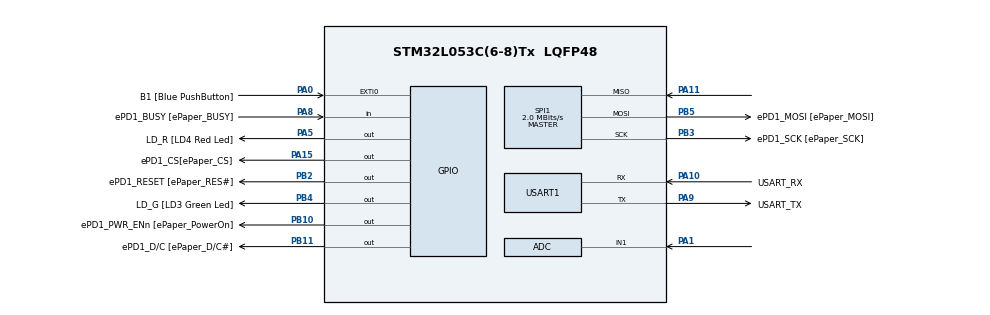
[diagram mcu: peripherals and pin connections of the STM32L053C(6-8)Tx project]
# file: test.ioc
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ADC.ContinuousConvMode=ENABLE
ADC.DMAContinuousRequests=ENABLE
ADC.Overrun=ADC_OVR_DATA_OVERWRITTEN
Dma.ADC.1.Direction=DMA_PERIPH_TO_MEMORY
Dma.ADC.1.Instance=DMA1_Channel1
Dma.ADC.1.MemDataAlignment=DMA_MDATAALIGN_HALFWORD
Dma.ADC.1.MemInc=DMA_MINC_ENABLE
Dma.ADC.1.Mode=DMA_CIRCULAR
Dma.ADC.1.PeriphDataAlignment=DMA_PDATAALIGN_HALFWORD
Dma.ADC.1.PeriphInc=DMA_PINC_DISABLE
Dma.ADC.1.Priority=DMA_PRIORITY_LOW
Dma.Request0=USART1_RX
Dma.Request1=ADC
Dma.USART1_RX.0.Direction=DMA_PERIPH_TO_MEMORY
Dma.USART1_RX.0.Instance=DMA1_Channel3
Dma.USART1_RX.0.MemDataAlignment=DMA_MDATAALIGN_BYTE
Dma.USART1_RX.0.MemInc=DMA_MINC_ENABLE
Dma.USART1_RX.0.Mode=DMA_NORMAL
Dma.USART1_RX.0.PeriphDataAlignment=DMA_PDATAALIGN_BYTE
Dma.USART1_RX.0.PeriphInc=DMA_PINC_DISABLE
Dma.USART1_RX.0.Priority=DMA_PRIORITY_LOW
Mcu.Family=STM32L0
Mcu.Name=STM32L053C(6-8)Tx
Mcu.Package=LQFP48
NVIC.ADC1_COMP_IRQn=true\:0\:0\:false\:false\:true\:true\:true
NVIC.DMA1_Channel1_IRQn=true\:0\:0\:false\:false\:true\:false\:true
NVIC.DMA1_Channel2_3_IRQn=true\:0\:0\:false\:false\:true\:false\:true
NVIC.USART1_IRQn=true\:0\:0\:false\:false\:true\:true\:true
PA0.GPIO_Label=B1 [Blue PushButton]
PA0.GPIO_ModeDefaultEXTI=GPIO_MODE_EVT_RISING
PA0.GPIO_PuPd=GPIO_NOPULL
PA0.Signal=GPXTI0
PA1.Mode=IN1
PA1.Signal=ADC_IN1
PA10.GPIO_Label=USART_RX
PA10.Mode=Asynchronous
PA10.Signal=USART1_RX
PA11.Mode=Full_Duplex_Master
PA11.Signal=SPI1_MISO
PA13.GPIO_Label=SWDIO
PA13.Mode=Serial_Wire
PA13.Signal=SYS_SWDIO
PA14.Mode=Serial_Wire
PA14.Signal=SYS_SWCLK
PA15.GPIO_Label=ePD1_CS[ePaper_CS]
PA15.GPIO_Speed=GPIO_SPEED_FREQ_HIGH
PA15.Signal=GPIO_Output
PA5.GPIO_Label=LD_R [LD4 Red Led]
PA5.GPIO_ModeDefaultOutputPP=GPIO_MODE_OUTPUT_PP
PA5.GPIO_PuPd=GPIO_NOPULL
PA5.GPIO_Speed=GPIO_SPEED_FREQ_LOW
PA5.Signal=GPIO_Output
PA8.GPIO_Label=ePD1_BUSY [ePaper_BUSY]
PA8.GPIO_Mode=GPIO_MODE_INPUT
PA8.GPIO_PuPd=GPIO_PULLDOWN
PA8.Signal=GPIO_Input
PA9.GPIO_Label=USART_TX
PA9.Mode=Asynchronous
PA9.Signal=USART1_TX
PB10.GPIO_Label=ePD1_PWR_ENn [ePaper_PowerOn]
PB10.GPIO_ModeDefaultOutputPP=GPIO_MODE_OUTPUT_PP
PB10.GPIO_PuPd=GPIO_NOPULL
PB10.GPIO_Speed=GPIO_SPEED_FREQ_LOW
PB10.Signal=GPIO_Output
PB11.GPIO_Label=ePD1_D/C [ePaper_D/C\#]
PB11.GPIO_ModeDefaultOutputPP=GPIO_MODE_OUTPUT_PP
PB11.GPIO_PuPd=GPIO_NOPULL
PB11.GPIO_Speed=GPIO_SPEED_FREQ_LOW
PB11.Signal=GPIO_Output
PB2.GPIO_Label=ePD1_RESET [ePaper_RES\#]
PB2.GPIO_ModeDefaultOutputPP=GPIO_MODE_OUTPUT_PP
PB2.GPIO_PuPd=GPIO_NOPULL
PB2.GPIO_Speed=GPIO_SPEED_FREQ_LOW
PB2.Signal=GPIO_Output
PB3.GPIO_Label=ePD1_SCK [ePaper_SCK]
PB3.GPIO_Mode=GPIO_MODE_AF_PP
PB3.GPIO_PuPd=GPIO_NOPULL
PB3.GPIO_Speed=GPIO_SPEED_FREQ_LOW
PB3.Mode=Full_Duplex_Master
PB3.Signal=SPI1_SCK
PB4.GPIO_Label=LD_G [LD3 Green Led]
PB4.GPIO_ModeDefaultOutputPP=GPIO_MODE_OUTPUT_PP
PB4.GPIO_PuPd=GPIO_NOPULL
PB4.GPIO_Speed=GPIO_SPEED_FREQ_LOW
PB4.Signal=GPIO_Output
PB5.GPIO_Label=ePD1_MOSI [ePaper_MOSI]
PB5.GPIO_Mode=GPIO_MODE_AF_PP
PB5.GPIO_PuPd=GPIO_NOPULL
PB5.GPIO_Speed=GPIO_SPEED_FREQ_LOW
PB5.Mode=Full_Duplex_Master
PB5.Signal=SPI1_MOSI
PH0-OSC_IN.GPIO_Label=MCO
PH0-OSC_IN.Mode=HSE-External-Clock-Source
PH0-OSC_IN.Signal=RCC_OSC_IN
ProjectManager.HeapSize=0x200
ProjectManager.StackSize=0x400
ProjectManager.TargetToolchain=MDK-ARM V5.27
RCC.AHBFreq_Value=16000000
RCC.APB1Freq_Value=16000000
RCC.APB1TimFreq_Value=16000000
RCC.APB2Freq_Value=16000000
RCC.APB2TimFreq_Value=16000000
RCC.HCLKFreq_Value=16000000
RCC.HSE_VALUE=8000000
RCC.HSI16_VALUE=16000000
RCC.HSI48MClockSelection=RCC_USBCLKSOURCE_HSI48
RCC.HSI48_VALUE=48000000
RCC.HSI_VALUE=16000000
RCC.LSE_VALUE=32768
RCC.MSI_VALUE=2097000
RCC.PLLDIV=RCC_PLLDIV_4
RCC.PLLMUL=RCC_PLLMUL_4
RCC.RTCClockSelectionVirtual=RCC_RTCCLKSOURCE_LSE
RCC.SYSCLKFreq_VALUE=16000000
RCC.SYSCLKSource=RCC_SYSCLKSOURCE_PLLCLK
RCC.VCOOutputFreq_Value=64000000
SPI1.BaudRatePrescaler=SPI_BAUDRATEPRESCALER_8
SPI1.CLKPhase=SPI_PHASE_2EDGE
SPI1.CLKPolarity=SPI_POLARITY_HIGH
SPI1.CalculateBaudRate=2.0 MBits/s
SPI1.Direction=SPI_DIRECTION_2LINES
SPI1.Mode=SPI_MODE_MASTER
SPI1.VirtualType=VM_MASTER
USART1.VirtualMode-Asynchronous=VM_ASYNC
board=STM32L0538-DISCO

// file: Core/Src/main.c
/* USER CODE BEGIN Header */
/**
  ******************************************************************************
  * @file           : main.c
  * @brief          : Main program body
  ******************************************************************************
  * @attention
  *
  * <h2><center>&copy; Copyright (c) 2021 STMicroelectronics.
  * All rights reserved.</center></h2>
  *
  * This software component is licensed by ST under BSD 3-Clause license,
  * the "License"; You may not use this file except in compliance with the
  * License. You may obtain a copy of the License at:
  *                        opensource.org/licenses/BSD-3-Clause
  *
  ******************************************************************************
  */
/* USER CODE END Header */
#include "main.h"
#include "adc.h"
#include "dma.h"
#include "spi.h"
#include "usart.h"
#include "gpio.h"

/* USER CODE BEGIN Includes */
#include "uprintf.h"
#include "stm32l0538_discovery_epd.h"
#include "picture.h"
/* USER CODE END Includes */

/* USER CODE BEGIN PV */
Rx_Data U1_RD;
uint8_t U1DMA_RXBUF[200];
uint16_t Value_ADC[2];
/* USER CODE END PV */

void SystemClock_Config(void);
/* USER CODE BEGIN PFP */
void Enable_USART1_IT(void)
{
    LL_USART_ClearFlag_IDLE(USART1);          //清除空闲标志
    LL_USART_EnableIT_RXNE(USART1); 					//使能串口1接收中断
    LL_USART_EnableIT_IDLE(USART1); 					//使能串口1空闲中断
}

void Start_U1DMA(void)
{
    LL_DMA_ConfigAddresses(DMA1,LL_DMA_CHANNEL_3,(uint32_t)&USART1->RDR,(uint32_t)&U1DMA_RXBUF,LL_DMA_DIRECTION_PERIPH_TO_MEMORY);   //设置源地址，目的地址，传输方式
    LL_DMA_SetDataLength(DMA1,LL_DMA_CHANNEL_3,200);	                                                                               //设置传输字节数
    LL_USART_EnableDMAReq_RX(USART1);                                                                                                //使能串口1接收DMA
    LL_DMA_EnableChannel(DMA1,LL_DMA_CHANNEL_3);                                                                                     //启动DMA传输通道
}

void Start_ADC1DMA(void)
{
    LL_DMA_ConfigAddresses(DMA1,LL_DMA_CHANNEL_1,(uint32_t)&ADC1->DR,(uint32_t)&Value_ADC,LL_DMA_DIRECTION_PERIPH_TO_MEMORY);   //设置源地址，目的地址，传输方式
    LL_DMA_SetDataLength(DMA1,LL_DMA_CHANNEL_1,2);	                                                                              //设置传输字节数
    LL_DMA_EnableChannel(DMA1,LL_DMA_CHANNEL_1);                                                                                  //启动DMA传输通道
}

void Activate_ADC(void)
{
    __IO uint32_t wait_loop_index = 0;
    __IO uint32_t backup_setting_adc_dma_transfer = 0;

    if (LL_ADC_IsEnabled(ADC1) == 0)
    {
        /* 校准期间必须关闭DMA */
        backup_setting_adc_dma_transfer = LL_ADC_REG_GetDMATransfer(ADC1);
        LL_ADC_REG_SetDMATransfer(ADC1, LL_ADC_REG_DMA_TRANSFER_NONE);

        /* 开始自校准 */
        LL_ADC_StartCalibration(ADC1);

        /*轮询等待自校准完成*/
        while (LL_ADC_IsCalibrationOnGoing(ADC1) != 0)
        {
        }

        /* 自校准结束延时2个ADC时钟周期才可以开始使能ADC，本例APB2时钟=ADC时钟=16M*/
        wait_loop_index = (2>> 1);
        while(wait_loop_index != 0)
        {
            wait_loop_index--;
        }

        /* 校准完成后恢复DMA */
        LL_ADC_REG_SetDMATransfer(ADC1, backup_setting_adc_dma_transfer);

        /* 使能 ADC */
        LL_ADC_Enable(ADC1);

        /* 轮询ADC准备状态 */

        while (LL_ADC_IsActiveFlag_ADRDY(ADC1) == 0)
        {
        }

        /* Note: ADC flag ADRDY is not cleared here to be able to check ADC       */
        /*       status afterwards.                                               */
        /*       This flag should be cleared at ADC Deactivation, before a new    */
        /*       ADC activation, using function "LL_ADC_ClearFlag_ADRDY()".       */
    }

}
/* USER CODE END PFP */

int main(void)
{
    /* USER CODE BEGIN 1 */
    LL_RCC_ClocksTypeDef sysfeq;
    char Value_Str[10]= {0};
    static uint16_t Avg_Volt;
    static uint8_t ADC_display=1;
    /* USER CODE END 1 */

    /* MCU Configuration--------------------------------------------------------*/

    /* Reset of all peripherals, Initializes the Flash interface and the Systick. */

    LL_APB2_GRP1_EnableClock(LL_APB2_GRP1_PERIPH_SYSCFG);
    LL_APB1_GRP1_EnableClock(LL_APB1_GRP1_PERIPH_PWR);

    /* System interrupt init*/

    /* Configure the system clock */
    SystemClock_Config();

    /* Initialize all configured peripherals */
    MX_GPIO_Init();
    MX_DMA_Init();
    MX_SPI1_Init();
    MX_USART1_UART_Init();
    MX_ADC_Init();
    /* USER CODE BEGIN 2 */

    /* 使能SPI1 */
    LL_SPI_Enable(SPI1);

    /* 获取系统时钟 */
    LL_RCC_GetSystemClocksFreq(&sysfeq);

    /* 打印开机信息*/
    my_printf(U1,"stm32l0538-disco开发板测试程序\n作者：王亮\n");
    my_printf(U1,"stm32l0538-disco开发板硬件资源说明\n");
    my_printf(U1,"按键：B1--PA0\n");
    my_printf(U1,"LED绿：LD3--PB4\n");
    my_printf(U1,"LED红：LD4--PA5\n");
    my_printf(U1,"调试打印串口：deBug(USART1)--PA9（TX） PA10（RX）\n");
    my_printf(U1,"墨水屏：ePD1(SPI1)--PA8（BUSY） PB2（RESET） PB11(D/C) PA15(CS) PB3(SCK) PB5(MOSI) PB10(PWREN)\n");
    my_printf(U1,"当前系统时钟：%dHz\n\n",sysfeq.SYSCLK_Frequency);
    my_printf(U1,"请将要ePD显示的ASIIC字符串通过串口发送给我..\n");

    /*启动DMA*/
    Start_ADC1DMA();

    /*激活ADC*/
    Activate_ADC();

    /* 使能串口接收空闲中断+DMA*/
    Enable_USART1_IT();
    Start_U1DMA();

    /* 初始化墨水屏*/
    BSP_EPD_Init();
    BSP_EPD_DrawImage(0,14,16,16,(uint8_t*) picture_1);
    BSP_EPD_DrawImage(0,0,16,16,(uint8_t*) picture_1);
    BSP_EPD_DrawImage(154,0,16,16,(uint8_t*) picture_1);
    BSP_EPD_DrawImage(154,14,16,16,(uint8_t*) picture_1);
    BSP_EPD_DrawHLine(0,12,172);
    BSP_EPD_DisplayStringAt(0,7,(uint8_t*)"** Welcom, Alice! **",CENTER_MODE);
    BSP_EPD_DrawHLine(0,6,172);
    BSP_EPD_RefreshDisplay();
    LL_mDelay(5000);

    /*设置LED初始状态*/
    LL_GPIO_ResetOutputPin(LD_R_GPIO_Port,LD_R_Pin);
    LL_GPIO_SetOutputPin(LD_G_GPIO_Port,LD_G_Pin);

    /* USER CODE END 2 */

    /* Infinite loop */
    while (1)
    {

        /* USER CODE BEGIN 3 */
        //延时5秒
        LL_mDelay(5000);

        //ADC1开始转换
        if ((LL_ADC_IsEnabled(ADC1) == 1) &&
                (LL_ADC_IsDisableOngoing(ADC1) == 0)&&
                (LL_ADC_REG_IsConversionOngoing(ADC1) == 0))
        {
            LL_ADC_REG_StartConversion(ADC1);
        }

        //翻转红绿LED
        LL_GPIO_TogglePin(LD_R_GPIO_Port,LD_R_Pin);
        LL_GPIO_TogglePin(LD_G_GPIO_Port,LD_G_Pin);

        //计算ADC平均电压，单位mv
        Avg_Volt=__LL_ADC_CALC_DATA_TO_VOLTAGE(3300,(Value_ADC[0]+Value_ADC[1])/2,LL_ADC_RESOLUTION_12B);

        //如果串口接收指令传输完成则打印收到的串口数据，同时显示到墨水屏上
        if(U1_RD.TC_Flag==1)
        {
            ADC_display=0;
            U1_RD.TC_Flag=0;
            my_printf(U1,"接收到串口数据共%d字节\n",U1_RD.Data_Lenth);
            my_printf(U1,"接收内容如下：%s\n",U1_RD.BUF_DMA);

            //墨水屏清屏，显示接收数据
            BSP_EPD_Clear(EPD_COLOR_BLACK);
            BSP_EPD_Clear(EPD_COLOR_WHITE);
            sprintf(Value_Str,"ADC:%dmv",Avg_Volt);
            BSP_EPD_DisplayStringAtLine(4,(uint8_t*)&Value_Str);
            BSP_EPD_DisplayStringAtLine(3,(uint8_t*)"My Recive Data:");
            BSP_EPD_DrawHLine(0,8,172);
            BSP_EPD_DrawHLine(0,7,172);
            BSP_EPD_DisplayStringAtLine(0,(uint8_t*)&U1_RD.BUF_DMA);
            BSP_EPD_RefreshDisplay();
            //延时0.5秒
            LL_mDelay(5000);
            ADC_display=1;
        }

        //如果串口接收无数据，则只显示ADC转换电压
        if(ADC_display) {
            BSP_EPD_Clear(EPD_COLOR_BLACK);
            BSP_EPD_Clear(EPD_COLOR_WHITE);
            sprintf(Value_Str,"ADC:%dmv",Avg_Volt);
            BSP_EPD_DisplayStringAtLine(4,(uint8_t*)&Value_Str);
            BSP_EPD_RefreshDisplay();
        }
    }
    /* USER CODE END 3 */
}

void SystemClock_Config(void)
{
    LL_FLASH_SetLatency(LL_FLASH_LATENCY_0);
    while(LL_FLASH_GetLatency()!= LL_FLASH_LATENCY_0)
    {
    }
    LL_PWR_SetRegulVoltageScaling(LL_PWR_REGU_VOLTAGE_SCALE1);
    LL_RCC_HSI_Enable();

    /* Wait till HSI is ready */
    while(LL_RCC_HSI_IsReady() != 1)
    {

    }
    LL_RCC_HSI_SetCalibTrimming(16);
    LL_RCC_PLL_ConfigDomain_SYS(LL_RCC_PLLSOURCE_HSI, LL_RCC_PLL_MUL_4, LL_RCC_PLL_DIV_4);
    LL_RCC_PLL_Enable();

    /* Wait till PLL is ready */
    while(LL_RCC_PLL_IsReady() != 1)
    {

    }
    LL_RCC_SetAHBPrescaler(LL_RCC_SYSCLK_DIV_1);
    LL_RCC_SetAPB1Prescaler(LL_RCC_APB1_DIV_1);
    LL_RCC_SetAPB2Prescaler(LL_RCC_APB2_DIV_1);
    LL_RCC_SetSysClkSource(LL_RCC_SYS_CLKSOURCE_PLL);

    /* Wait till System clock is ready */
    while(LL_RCC_GetSysClkSource() != LL_RCC_SYS_CLKSOURCE_STATUS_PLL)
    {

    }

    LL_Init1msTick(16000000);

    LL_SetSystemCoreClock(16000000);
    LL_RCC_SetUSARTClockSource(LL_RCC_USART1_CLKSOURCE_PCLK2);
}

void Error_Handler(void)
{
    __disable_irq();
    while (1)
    {
    }
}

/************************ (C) COPYRIGHT STMicroelectronics *****END OF FILE****/
